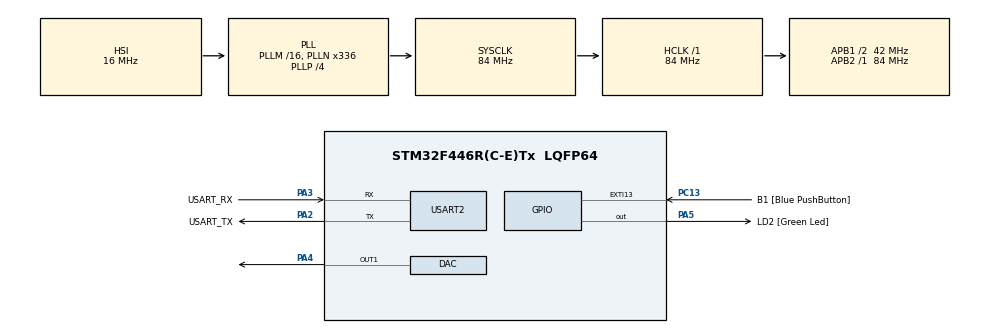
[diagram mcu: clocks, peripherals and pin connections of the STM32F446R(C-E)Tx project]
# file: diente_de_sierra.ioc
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Mcu.Family=STM32F4
Mcu.Name=STM32F446R(C-E)Tx
Mcu.Package=LQFP64
NVIC.PriorityGroup=NVIC_PRIORITYGROUP_0
NVIC.TIM1_UP_TIM10_IRQn=true\:0\:0\:false\:false\:true\:true\:true\:true
PA13.GPIO_Label=TMS
PA13.Mode=Serial_Wire
PA13.Signal=SYS_JTMS-SWDIO
PA14.GPIO_Label=TCK
PA14.Mode=Serial_Wire
PA14.Signal=SYS_JTCK-SWCLK
PA2.GPIO_Label=USART_TX
PA2.Mode=Asynchronous
PA2.Signal=USART2_TX
PA3.GPIO_Label=USART_RX
PA3.Mode=Asynchronous
PA3.Signal=USART2_RX
PA4.Signal=COMP_DAC1_group
PA5.GPIO_Label=LD2 [Green Led]
PA5.Signal=GPIO_Output
PB3.GPIO_Label=SWO
PB3.Signal=SYS_JTDO-SWO
PC13.GPIO_Label=B1 [Blue PushButton]
PC13.GPIO_ModeDefaultEXTI=GPIO_MODE_IT_FALLING
PC13.Signal=GPXTI13
PC14-OSC32_IN.Mode=LSE-External-Oscillator
PC14-OSC32_IN.Signal=RCC_OSC32_IN
PC15-OSC32_OUT.Mode=LSE-External-Oscillator
PC15-OSC32_OUT.Signal=RCC_OSC32_OUT
PH0-OSC_IN.Mode=HSE-External-Oscillator
PH0-OSC_IN.Signal=RCC_OSC_IN
PH1-OSC_OUT.Mode=HSE-External-Oscillator
PH1-OSC_OUT.Signal=RCC_OSC_OUT
ProjectManager.HeapSize=0x200
ProjectManager.StackSize=0x400
ProjectManager.TargetToolchain=STM32CubeIDE
RCC.48MHZClocksFreq_Value=84000000
RCC.AHBFreq_Value=84000000
RCC.APB1CLKDivider=RCC_HCLK_DIV2
RCC.APB1Freq_Value=42000000
RCC.APB1TimFreq_Value=84000000
RCC.APB2Freq_Value=84000000
RCC.APB2TimFreq_Value=84000000
RCC.CortexFreq_Value=84000000
RCC.FLatency-AdvancedSettings=FLASH_LATENCY_2
RCC.HCLKFreq_Value=84000000
RCC.HSE_VALUE=8000000
RCC.HSI_VALUE=16000000
RCC.PLLN=336
RCC.PLLP=RCC_PLLP_DIV4
RCC.SYSCLKFreq_VALUE=84000000
RCC.SYSCLKSource=RCC_SYSCLKSOURCE_PLLCLK
RCC.USBFreq_Value=168000000
RCC.VCOOutputFreq_Value=336000000
SH.COMP_DAC1_group.0=DAC_OUT1,DAC_OUT1
TIM10.Prescaler=8399
USART2.VirtualMode=VM_ASYNC
VP_TIM10_VS_ClockSourceINT.Mode=Enable_Timer
board=NUCLEO-F446RE

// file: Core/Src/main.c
/* USER CODE BEGIN Header */
/*
 * diente_de_sierra
 * Proyecto que muestra el uso del DAC en el STM32F446RE. Se usa un Timer para incre-
 * mentar un contador, que se envía al DAC. El resultado
 * es una señal con forma de diente de sierra.
 *
 * Se hace uso del canal 1 del DAC, el cual se encuentra en el pin PA4.
 *
 * Modificado por Pedro Joaquín Castillo
 */
/**
  ******************************************************************************
  * @file           : main.c
  * @brief          : Main program body
  ******************************************************************************
  * @attention
  *
  * Copyright (c) 2025 STMicroelectronics.
  * All rights reserved.
  *
  * This software is licensed under terms that can be found in the LICENSE file
  * in the root directory of this software component.
  * If no LICENSE file comes with this software, it is provided AS-IS.
  *
  ******************************************************************************
  */
/* USER CODE END Header */
#include "main.h"

DAC_HandleTypeDef hdac;

TIM_HandleTypeDef htim10;

UART_HandleTypeDef huart2;

/* USER CODE BEGIN PV */
#define VALOR_MAX 4095
uint16_t cont = 0;
//FRECUENCIA DE TIMER
//OJO: LA CONFIGURACIÓN ACTUAL PERMITE UNA freq_timer MÁXIMA DE 10kHz.
//SI SE DESEA UNA FRECUENCIA MÁS ALTA SE DEBE CAMBIAR LA CONFIGURACIÓN
uint16_t freq_timer = 1000; //En Hz
uint32_t timer_clk;
uint32_t pclk;

/* USER CODE END PV */

void SystemClock_Config(void);
static void MX_GPIO_Init(void);
static void MX_USART2_UART_Init(void);
static void MX_DAC_Init(void);
static void MX_TIM10_Init(void);

/* USER CODE BEGIN 0 */

//Callback para la interrupción de TIM10
void HAL_TIM_PeriodElapsedCallback(TIM_HandleTypeDef *htim){
	// ----------------------------------------------------------------------------
	//
	// Aquí se podrían hacer más cosas: conversiones ADC, procesamiento de datos, etc.
	//
	// ----------------------------------------------------------------------------
	//Se envía un valor de 12 bits alineado a la derecha
	HAL_DAC_SetValue(&hdac, DAC_CHANNEL_1, DAC_ALIGN_12B_R, cont);
	// Resetear el contador después de VALOR_MAX
	cont = (cont + 1) % (VALOR_MAX + 1);
}

/* USER CODE END 0 */

int main(void)
{

  /* MCU Configuration--------------------------------------------------------*/

  /* Reset of all peripherals, Initializes the Flash interface and the Systick. */
  HAL_Init();

  /* Configure the system clock */
  SystemClock_Config();

  /* Initialize all configured peripherals */
  MX_GPIO_Init();
  MX_USART2_UART_Init();
  MX_DAC_Init();
  MX_TIM10_Init();
  /* USER CODE BEGIN 2 */
  HAL_DAC_Start(&hdac, DAC_CHANNEL_1); //Inicializa el Canal 1 del DAC
  HAL_TIM_Base_Start_IT(&htim10); //Esto inicializa el TIM10 y habilita la interrupción
  /* USER CODE END 2 */

  /* Infinite loop */
  while (1)
  {

    /* USER CODE BEGIN 3 */
	  //El controlador se queda esperando la interrupción del temporizador
  }
  /* USER CODE END 3 */
}

void SystemClock_Config(void)
{
  RCC_OscInitTypeDef RCC_OscInitStruct = {0};
  RCC_ClkInitTypeDef RCC_ClkInitStruct = {0};

  /** Configure the main internal regulator output voltage
  */
  __HAL_RCC_PWR_CLK_ENABLE();
  __HAL_PWR_VOLTAGESCALING_CONFIG(PWR_REGULATOR_VOLTAGE_SCALE3);

  /** Initializes the RCC Oscillators according to the specified parameters
  * in the RCC_OscInitTypeDef structure.
  */
  RCC_OscInitStruct.OscillatorType = RCC_OSCILLATORTYPE_HSI;
  RCC_OscInitStruct.HSIState = RCC_HSI_ON;
  RCC_OscInitStruct.HSICalibrationValue = RCC_HSICALIBRATION_DEFAULT;
  RCC_OscInitStruct.PLL.PLLState = RCC_PLL_ON;
  RCC_OscInitStruct.PLL.PLLSource = RCC_PLLSOURCE_HSI;
  RCC_OscInitStruct.PLL.PLLM = 16;
  RCC_OscInitStruct.PLL.PLLN = 336;
  RCC_OscInitStruct.PLL.PLLP = RCC_PLLP_DIV4;
  RCC_OscInitStruct.PLL.PLLQ = 2;
  RCC_OscInitStruct.PLL.PLLR = 2;
  if (HAL_RCC_OscConfig(&RCC_OscInitStruct) != HAL_OK)
  {
    Error_Handler();
  }

  /** Initializes the CPU, AHB and APB buses clocks
  */
  RCC_ClkInitStruct.ClockType = RCC_CLOCKTYPE_HCLK|RCC_CLOCKTYPE_SYSCLK
                              |RCC_CLOCKTYPE_PCLK1|RCC_CLOCKTYPE_PCLK2;
  RCC_ClkInitStruct.SYSCLKSource = RCC_SYSCLKSOURCE_PLLCLK;
  RCC_ClkInitStruct.AHBCLKDivider = RCC_SYSCLK_DIV1;
  RCC_ClkInitStruct.APB1CLKDivider = RCC_HCLK_DIV2;
  RCC_ClkInitStruct.APB2CLKDivider = RCC_HCLK_DIV1;

  if (HAL_RCC_ClockConfig(&RCC_ClkInitStruct, FLASH_LATENCY_2) != HAL_OK)
  {
    Error_Handler();
  }
}

static void MX_DAC_Init(void)
{

  DAC_ChannelConfTypeDef sConfig = {0};

  /** DAC Initialization
  */
  hdac.Instance = DAC;
  if (HAL_DAC_Init(&hdac) != HAL_OK)
  {
    Error_Handler();
  }

  /** DAC channel OUT1 config
  */
  sConfig.DAC_Trigger = DAC_TRIGGER_NONE;
  sConfig.DAC_OutputBuffer = DAC_OUTPUTBUFFER_ENABLE;
  if (HAL_DAC_ConfigChannel(&hdac, &sConfig, DAC_CHANNEL_1) != HAL_OK)
  {
    Error_Handler();
  }

}

static void MX_TIM10_Init(void)
{

  /* USER CODE BEGIN TIM10_Init 0 */
	//Se obtiene la frecuencia del CLK que controla el TIM10
	pclk = HAL_RCC_GetPCLK2Freq();
	if ((RCC->CFGR & RCC_CFGR_PPRE2) != RCC_CFGR_PPRE2_DIV1) {
		timer_clk = pclk * 2;  // Si el divisor es diferente a 1, se duplica la frecuencia del reloj
	} else {
		timer_clk = pclk; //Si el divisor es 1, se mantiene igual
	}

	htim10.Init.Prescaler = 8399;
	//OJO: La siguiente línea de código permite modificar la frecuencia del timer al sólo cambiar freq_timer.
	//Note que la línea que configura el período está comentada en la sección de configuración del TIM10.
	//Si se genera nuevo código, debe comentar la línea en donde se asigna el valor del htim10.Init.Period en la
	//configuración del Timer.
	htim10.Init.Period = ((timer_clk / (htim10.Init.Prescaler + 1)) / freq_timer) - 1;

  /* USER CODE END TIM10_Init 0 */

  htim10.Instance = TIM10;
  htim10.Init.Prescaler = 8399;
  htim10.Init.CounterMode = TIM_COUNTERMODE_UP;
  //htim10.Init.Period = 65535;
  htim10.Init.ClockDivision = TIM_CLOCKDIVISION_DIV1;
  htim10.Init.AutoReloadPreload = TIM_AUTORELOAD_PRELOAD_DISABLE;
  if (HAL_TIM_Base_Init(&htim10) != HAL_OK)
  {
    Error_Handler();
  }

}

static void MX_USART2_UART_Init(void)
{

  huart2.Instance = USART2;
  huart2.Init.BaudRate = 115200;
  huart2.Init.WordLength = UART_WORDLENGTH_8B;
  huart2.Init.StopBits = UART_STOPBITS_1;
  huart2.Init.Parity = UART_PARITY_NONE;
  huart2.Init.Mode = UART_MODE_TX_RX;
  huart2.Init.HwFlowCtl = UART_HWCONTROL_NONE;
  huart2.Init.OverSampling = UART_OVERSAMPLING_16;
  if (HAL_UART_Init(&huart2) != HAL_OK)
  {
    Error_Handler();
  }

}

static void MX_GPIO_Init(void)
{
  GPIO_InitTypeDef GPIO_InitStruct = {0};

  /* GPIO Ports Clock Enable */
  __HAL_RCC_GPIOC_CLK_ENABLE();
  __HAL_RCC_GPIOH_CLK_ENABLE();
  __HAL_RCC_GPIOA_CLK_ENABLE();
  __HAL_RCC_GPIOB_CLK_ENABLE();

  /*Configure GPIO pin Output Level */
  HAL_GPIO_WritePin(LD2_GPIO_Port, LD2_Pin, GPIO_PIN_RESET);

  /*Configure GPIO pin : B1_Pin */
  GPIO_InitStruct.Pin = B1_Pin;
  GPIO_InitStruct.Mode = GPIO_MODE_IT_FALLING;
  GPIO_InitStruct.Pull = GPIO_NOPULL;
  HAL_GPIO_Init(B1_GPIO_Port, &GPIO_InitStruct);

  /*Configure GPIO pin : LD2_Pin */
  GPIO_InitStruct.Pin = LD2_Pin;
  GPIO_InitStruct.Mode = GPIO_MODE_OUTPUT_PP;
  GPIO_InitStruct.Pull = GPIO_NOPULL;
  GPIO_InitStruct.Speed = GPIO_SPEED_FREQ_LOW;
  HAL_GPIO_Init(LD2_GPIO_Port, &GPIO_InitStruct);

}

void Error_Handler(void)
{
  __disable_irq();
  while (1)
  {
  }
}
